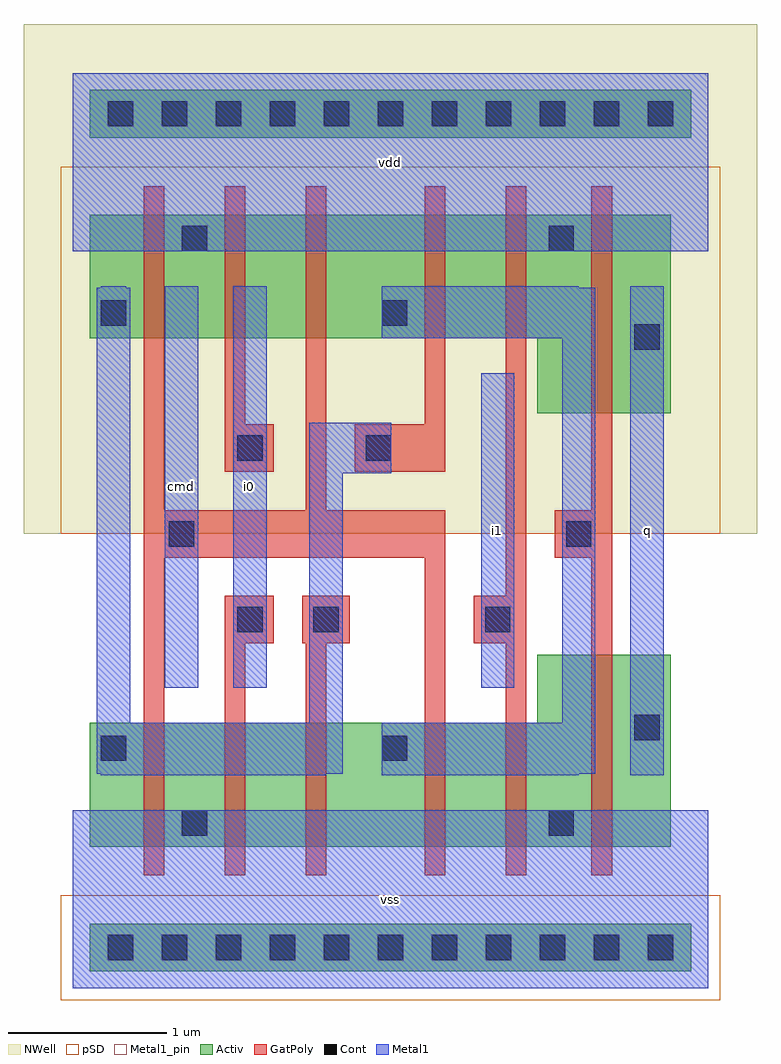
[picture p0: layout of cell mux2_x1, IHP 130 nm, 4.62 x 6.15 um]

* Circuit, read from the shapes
.subckt mux2_x1 cmd i0 i1 q vdd vss
XM1 vss cmd n1 vss sg13_lv_nmos w=0.78u l=0.13u
XM2 n2 i0 vss vss sg13_lv_nmos w=0.78u l=0.13u
XM3 n3 n1 n2 vss sg13_lv_nmos w=0.78u l=0.13u
XM4 n4 cmd n3 vss sg13_lv_nmos w=0.78u l=0.13u
XM5 vss i1 n4 vss sg13_lv_nmos w=0.78u l=0.13u
XM6 q n3 vss vss sg13_lv_nmos w=1.21u l=0.13u
XM7 vdd cmd n1 vdd sg13_lv_pmos w=0.78u l=0.13u
XM8 n5 i0 vdd vdd sg13_lv_pmos w=0.78u l=0.13u
XM9 n3 cmd n5 vdd sg13_lv_pmos w=0.78u l=0.13u
XM10 n6 n1 n3 vdd sg13_lv_pmos w=0.78u l=0.13u
XM11 vdd i1 n6 vdd sg13_lv_pmos w=0.78u l=0.13u
XM12 q n3 vdd vdd sg13_lv_pmos w=1.25u l=0.13u
.ends

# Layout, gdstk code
import gdstk
lib = gdstk.Library(unit=1e-6, precision=1e-09)
def R(c, l, rs):  # rectangles x0, y0, x1, y1
    for r in rs: c.add(gdstk.rectangle(r[:2], r[2:], *l))
def A(c, l, x, y, w, h, nx, ny, dx, dy):  # array of equal rectangles
    R(c, l, [(x+i*dx, y+j*dy, x+i*dx+w, y+j*dy+h) for i in range(nx) for j in range(ny)])
def P(c, l, *ps):  # polygons
    for p in ps: c.add(gdstk.Polygon(p, *l))
Activ = (1, 0)
GatPoly = (5, 0)
Cont = (6, 0)
Metal1 = (8, 0)
Metal1_pin = (8, 2)
pSD = (14, 0)
NWell = (31, 0)

mux2_x1 = lib.new_cell('mux2_x1')
R(mux2_x1, Activ, [(0.105,0.105,3.895,0.405), (0.105,5.355,3.895,5.655)])
P(mux2_x1, Activ, [(0.105,0.89),(0.105,1.67),(2.925,1.67),(2.925,2.1),(3.765,2.1),(3.765,0.89)],
  [(2.925,3.62),(2.925,4.09),(0.105,4.09),(0.105,4.87),(3.765,4.87),(3.765,3.62)])
P(mux2_x1, GatPoly, [(1.775,3.25),(1.775,3.55),(2.215,3.55),(2.215,5.05),(2.345,5.05),(2.345,3.25)],
  [(1.465,0.71),(1.465,2.17),(1.445,2.17),(1.445,2.47),(1.745,2.47),(1.745,2.17),(1.595,2.17),(1.595,0.71)],
  [(0.445,0.71),(0.445,5.05),(0.575,5.05),(0.575,3.01),(1.465,3.01),(1.465,5.05),(1.595,5.05),(1.595,3.01),(2.345,3.01),(2.345,0.71),(2.215,0.71),(2.215,2.71),(0.575,2.71),(0.575,0.71)],
  [(0.955,3.25),(0.955,5.05),(1.085,5.05),(1.085,3.55),(1.265,3.55),(1.265,3.25)],
  [(0.955,0.71),(0.955,2.47),(1.265,2.47),(1.265,2.17),(1.085,2.17),(1.085,0.71)],
  [(3.265,0.71),(3.265,2.71),(3.035,2.71),(3.035,3.01),(3.265,3.01),(3.265,5.05),(3.395,5.05),(3.395,0.71)],
  [(2.725,0.71),(2.725,2.17),(2.525,2.17),(2.525,2.47),(2.725,2.47),(2.725,5.05),(2.855,5.05),(2.855,0.71)])
A(mux2_x1, Cont, 0.22, 0.175, 0.16, 0.16, 11, 2, 0.34, 5.25)
R(mux2_x1, Cont, [(0.685,0.96,0.845,1.12), (2.995,0.96,3.155,1.12), (0.175,1.43,0.335,1.59), (1.945,1.43,2.105,1.59), (3.535,1.56,3.695,1.72), (1.035,2.24,1.195,2.4), (1.515,2.24,1.675,2.4), (2.595,2.24,2.755,2.4), (0.605,2.78,0.765,2.94), (3.105,2.78,3.265,2.94), (1.035,3.32,1.195,3.48), (1.845,3.32,2.005,3.48), (3.535,4.02,3.695,4.18), (0.175,4.17,0.335,4.33), (1.945,4.17,2.105,4.33), (0.685,4.64,0.845,4.8), (2.995,4.64,3.155,4.8)])
R(mux2_x1, Metal1, [(0,0,4,1.12), (3.51,1.34,3.72,4.42), (0.58,1.89,0.79,4.42), (1.01,1.89,1.22,4.42), (2.57,1.89,2.78,3.87), (0,4.64,4,5.76)])
P(mux2_x1, Metal1, [(0.175,1.34),(0.175,1.35),(0.15,1.35),(0.15,4.41),(0.175,4.41),(0.175,4.42),(0.335,4.42),(0.335,4.41),(0.36,4.41),(0.36,1.67),(1.49,1.67),(1.49,3.56),(2.005,3.56),(2.005,3.24),(1.7,3.24),(1.7,1.35),(1.595,1.35),(1.595,1.34)],
  [(1.945,1.34),(1.945,1.67),(3.08,1.67),(3.08,4.09),(1.945,4.09),(1.945,4.42),(3.185,4.42),(3.185,4.41),(3.29,4.41),(3.29,1.35),(3.185,1.35),(3.185,1.34)])
R(mux2_x1, Metal1_pin, [(0,0,4,1.12), (3.51,1.34,3.72,4.42), (0.58,1.89,0.79,4.42), (1.01,1.89,1.22,4.42), (2.57,1.89,2.78,3.87), (0,4.64,4,5.76)])
R(mux2_x1, pSD, [(-0.075,-0.075,4.075,0.585), (-0.075,2.86,4.075,5.17)])
R(mux2_x1, NWell, [(-0.31,2.86,4.31,6.07)])
mux2_x1.add(gdstk.Label('vdd', (2,5.2), layer=8, texttype=2))
mux2_x1.add(gdstk.Label('vss', (2,0.56), layer=8, texttype=2))
mux2_x1.add(gdstk.Label('cmd', (0.685,3.155), layer=8, texttype=2))
mux2_x1.add(gdstk.Label('i0', (1.115,3.155), layer=8, texttype=2))
mux2_x1.add(gdstk.Label('i1', (2.675,2.88), layer=8, texttype=2))
mux2_x1.add(gdstk.Label('q', (3.615,2.88), layer=8, texttype=2))

lib.write_gds('mux2_x1.gds')
